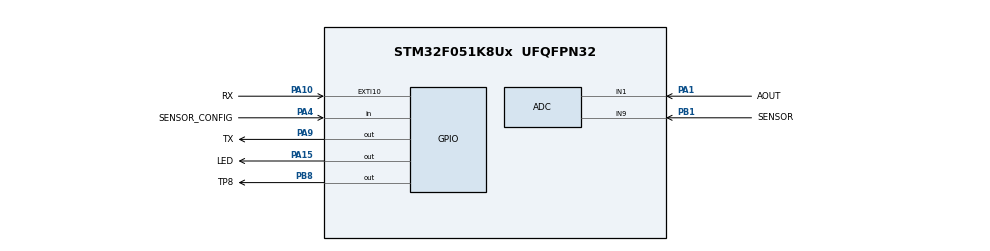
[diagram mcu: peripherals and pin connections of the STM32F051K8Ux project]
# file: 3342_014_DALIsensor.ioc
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ADC.LowPowerAutoPowerOff=ENABLE
ADC.LowPowerAutoWait=ENABLE
ADC.SamplingTime=ADC_SAMPLETIME_239CYCLES_5
IWDG.Prescaler=IWDG_PRESCALER_64
IWDG.Reload=1249
Mcu.Family=STM32F0
Mcu.Name=STM32F051K8Ux
Mcu.Package=UFQFPN32
NVIC.EXTI4_15_IRQn=true\:0\:0\:false\:false\:true\:true\:true
NVIC.TIM14_IRQn=true\:0\:0\:false\:false\:true\:true\:true
NVIC.TIM2_IRQn=true\:0\:0\:false\:false\:true\:true\:true
NVIC.TIM6_DAC_IRQn=true\:0\:0\:false\:false\:true\:true\:true
PA1.GPIO_Label=AOUT
PA1.Mode=IN1
PA1.Signal=ADC_IN1
PA10.GPIO_Label=RX
PA10.GPIO_ModeDefaultEXTI=GPIO_MODE_IT_RISING_FALLING
PA10.GPIO_PuPd=GPIO_PULLUP
PA10.Signal=GPXTI10
PA13.Mode=Serial_Wire
PA13.Signal=SYS_SWDIO
PA14.Mode=Serial_Wire
PA14.Signal=SYS_SWCLK
PA15.GPIO_Label=LED
PA15.GPIO_PuPd=GPIO_PULLUP
PA15.Signal=GPIO_Output
PA4.GPIO_Label=SENSOR_CONFIG
PA4.GPIO_PuPd=GPIO_PULLUP
PA4.Signal=GPIO_Input
PA9.GPIO_Label=TX
PA9.GPIO_Speed=GPIO_SPEED_FREQ_MEDIUM
PA9.Signal=GPIO_Output
PB1.GPIO_Label=SENSOR
PB1.Mode=IN9
PB1.Signal=ADC_IN9
PB8.GPIO_Label=TP8
PB8.Signal=GPIO_Output
ProjectManager.HeapSize=0x200
ProjectManager.StackSize=0x400
ProjectManager.TargetToolchain=STM32CubeIDE
TIM14.Period=11999
TIM14.Prescaler=39999
TIM2.Period=3333
TIM3.Period=0xffff
TIM6.Period=0xffff
TIM6.Prescaler=3
VP_IWDG_VS_IWDG.Mode=IWDG_Activate
VP_TIM14_VS_ClockSourceINT.Mode=Enable_Timer
VP_TIM2_VS_ClockSourceINT.Mode=Internal
VP_TIM3_VS_ClockSourceINT.Mode=Internal
VP_TIM6_VS_ClockSourceINT.Mode=Enable_Timer
board=custom

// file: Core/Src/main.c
/* USER CODE BEGIN Header */
/**
  ******************************************************************************
  * @file           : main.c
  * @brief          : Main program body
  ******************************************************************************
  * @attention
  *
  * <h2><center>&copy; Copyright (c) 2020 STMicroelectronics.
  * All rights reserved.</center></h2>
  *
  * This software component is licensed by ST under BSD 3-Clause license,
  * the "License"; You may not use this file except in compliance with the
  * License. You may obtain a copy of the License at:
  *                        opensource.org/licenses/BSD-3-Clause
  *
  ******************************************************************************
  */
/* USER CODE END Header */

#include "main.h"
#include "adc.h"
#include "iwdg.h"
#include "tim.h"
#include "gpio.h"

/* USER CODE BEGIN Includes */
#ifdef DEBUG
#include "dali.h"
#include "dali_memory.h"
#endif
/* USER CODE END Includes */

/* USER CODE BEGIN PD */
//#define DEBUG 1
/* USER CODE END PD */

/* USER CODE BEGIN PV */
volatile uint8_t adc_flag;
volatile uint16_t adc_time = 1000;
uint32_t sensor_val;
uint8_t darkCalibrate = 0;
uint8_t fullScaleCalibrate = 0;
/* USER CODE END PV */

void SystemClock_Config(void);

int main(void)
{

  /* MCU Configuration--------------------------------------------------------*/

  /* Reset of all peripherals, Initializes the Flash interface and the Systick. */
  HAL_Init();

  /* Configure the system clock */
  SystemClock_Config();

  /* Initialize all configured peripherals */
  MX_GPIO_Init();
  MX_ADC_Init();
  MX_IWDG_Init();
  MX_TIM2_Init();
  MX_TIM3_Init();
  MX_TIM6_Init();
  MX_TIM14_Init();
  /* USER CODE BEGIN 2 */
  ADC_ChannelConfTypeDef sConfig = {0};
  sConfig.Channel = ADC_CHANNEL_1;
  sConfig.Rank = ADC_RANK_NONE;
  sConfig.SamplingTime = ADC_SAMPLETIME_239CYCLES_5;
  if (HAL_ADC_ConfigChannel(&hadc, &sConfig) != HAL_OK)
  {
    Error_Handler();
  }
  HAL_TIM_Base_Start(&htim2);
  HAL_TIM_Base_Start(&htim3);
  HAL_TIM_Base_Start_IT(&htim6);
  DALI_AppInit();
  writePin(LED_Pin, 1);
  __HAL_IWDG_START(&hiwdg);
  HAL_TIM_Base_Start_IT(&htim14);
  /* USER CODE END 2 */

  /* Infinite loop */
  /* USER CODE BEGIN WHILE */
  while (1)
  {
	  HAL_IWDG_Refresh(&hiwdg);
	  DALI_ProcessRxData();
	  if(powerNoti_flag == 1)
	  {
		  DALI_Send_PowerCycleEvent();
		  powerNoti_flag = 0;
	  }
	  if(adc_flag == 1)
	  {
		  adc_flag = 0;
		  adc_time = 1000; //1000 ms
		  HAL_ADCEx_Calibration_Start(&hadc);
		  HAL_ADC_Start(&hadc);
		  if(HAL_ADC_PollForConversion(&hadc, 200) == HAL_OK)
		  {
			  sensor_val = HAL_ADC_GetValue(&hadc);
			  DALI_Set_inputValue(sensor_val);
			  DALI_SendEvent();
		  }
		  else
		  {
			  instanceError = TRUE;
		  }
		  HAL_ADC_Stop(&hadc);
	  }
	  HAL_PWR_EnterSLEEPMode(0, PWR_SLEEPENTRY_WFI);
    /* USER CODE END WHILE */

  }
}

void SystemClock_Config(void)
{
  RCC_OscInitTypeDef RCC_OscInitStruct = {0};
  RCC_ClkInitTypeDef RCC_ClkInitStruct = {0};

  /** Initializes the CPU, AHB and APB busses clocks
  */
  RCC_OscInitStruct.OscillatorType = RCC_OSCILLATORTYPE_HSI|RCC_OSCILLATORTYPE_HSI14
                              |RCC_OSCILLATORTYPE_LSI;
  RCC_OscInitStruct.HSIState = RCC_HSI_ON;
  RCC_OscInitStruct.HSI14State = RCC_HSI14_ON;
  RCC_OscInitStruct.HSICalibrationValue = RCC_HSICALIBRATION_DEFAULT;
  RCC_OscInitStruct.HSI14CalibrationValue = 16;
  RCC_OscInitStruct.LSIState = RCC_LSI_ON;
  RCC_OscInitStruct.PLL.PLLState = RCC_PLL_NONE;
  if (HAL_RCC_OscConfig(&RCC_OscInitStruct) != HAL_OK)
  {
    Error_Handler();
  }
  /** Initializes the CPU, AHB and APB busses clocks
  */
  RCC_ClkInitStruct.ClockType = RCC_CLOCKTYPE_HCLK|RCC_CLOCKTYPE_SYSCLK
                              |RCC_CLOCKTYPE_PCLK1;
  RCC_ClkInitStruct.SYSCLKSource = RCC_SYSCLKSOURCE_HSI;
  RCC_ClkInitStruct.AHBCLKDivider = RCC_SYSCLK_DIV1;
  RCC_ClkInitStruct.APB1CLKDivider = RCC_HCLK_DIV1;

  if (HAL_RCC_ClockConfig(&RCC_ClkInitStruct, FLASH_LATENCY_0) != HAL_OK)
  {
    Error_Handler();
  }
}

/* USER CODE BEGIN 4 */
/**
  * @brief  This function checks the configuration resistor and set up the proper adc channel
  * @retval None
  */
void checkSensorType(void)
{
	ADC_ChannelConfTypeDef sConfig;
	sConfig.Rank = ADC_RANK_CHANNEL_NUMBER;
	sConfig.SamplingTime = ADC_SAMPLETIME_239CYCLES_5;

	if(readPin(SENSOR_CONFIG_Pin) == 0) // use CES sensor board
	{
		sConfig.Channel = ADC_CHANNEL_1;
	}
	else	// Use on-board sensor
	{
		sConfig.Channel = ADC_CHANNEL_9;
	}
	if (HAL_ADC_ConfigChannel(&hadc, &sConfig) != HAL_OK)
	{
		Error_Handler();
	}
}

/* USER CODE END 4 */

void Error_Handler(void)
{
}

/************************ (C) COPYRIGHT STMicroelectronics *****END OF FILE****/
